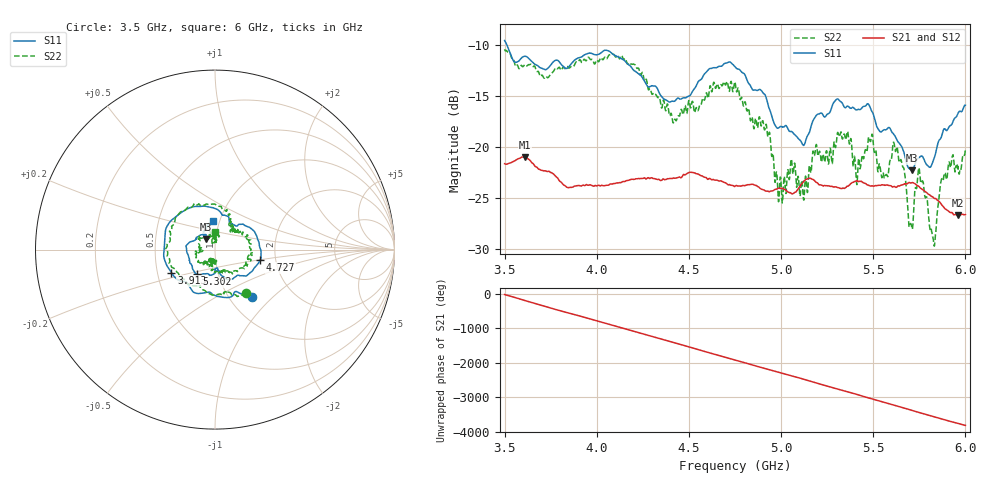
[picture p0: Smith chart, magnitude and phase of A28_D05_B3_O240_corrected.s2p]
! Created with skrf 1.9.0 (http://scikit-rf.org).
# Hz S RI R 50.0
!freq ReS11 ImS11 ReS21 ImS21 ReS12 ImS12 ReS22 ImS22
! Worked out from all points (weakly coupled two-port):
!   1601 points, 3.5 GHz to 6 GHz, reference 50 ohm
!   highest |S21| = -20.96 dB at 3.609 GHz (marker M1); lowest = -26.7 dB at 5.958 GHz (marker M2)
!   lowest |S11| = -22.3 dB at 5.711 GHz (marker M3), VSWR 1.17, Z = 44.9 + j5.26 ohm
!   |S11| at or under -10 dB: 3.512 GHz to end of sweep
!   |S22| runs from -29.7 to -10.4 dB; largest |S21 - S12| = 0.00095
!   S11 on the Smith chart (normalised r, x): 3.5 GHz: 1.27, -0.75; 3.913 GHz: 0.59, -0.17; 4.727 GHz: 1.66, -0.20; 5.302 GHz: 0.79, -0.22; 6 GHz: 0.93, +0.31
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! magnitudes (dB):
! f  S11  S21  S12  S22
! 3.5 GHz  -9.6  -21.6  -21.6  -10.4
! 3.609 GHz  -11.1  -21.0  -21.0  -11.9
! 3.913 GHz  -11.2  -23.8  -23.8  -11.5
! 3.917 GHz  -11.2  -23.8  -23.8  -11.7
! 4.144 GHz  -11.5  -23.4  -23.4  -11.4
! 4.334 GHz  -14.5  -23.2  -23.1  -15.2
! 4.423 GHz  -15.5  -23.1  -23.0  -17.3
! 4.727 GHz  -11.7  -23.7  -23.6  -13.6
! 4.75 GHz  -12.1  -23.8  -23.8  -13.7
! 4.928 GHz  -15.8  -24.3  -24.3  -19.0
! 4.995 GHz  -18.0  -24.0  -24.0  -22.9
! 5.133 GHz  -19.4  -23.2  -23.2  -22.8
! 5.167 GHz  -17.7  -23.1  -23.1  -21.6
! 5.302 GHz  -15.3  -23.9  -23.9  -19.3
! 5.584 GHz  -18.1  -23.8  -23.7  -22.1
! 5.622 GHz  -19.1  -23.9  -23.9  -20.4
! 5.711 GHz  -22.3  -23.5  -23.4  -28.0
! 5.755 GHz  -21.0  -24.0  -24.0  -23.0
! 5.83 GHz  -21.1  -25.0  -24.9  -29.6
! 5.877 GHz  -18.5  -25.8  -25.7  -23.2
! 5.958 GHz  -16.8  -26.7  -26.6  -22.1
! 6 GHz  -15.9  -26.6  -26.6  -20.3
